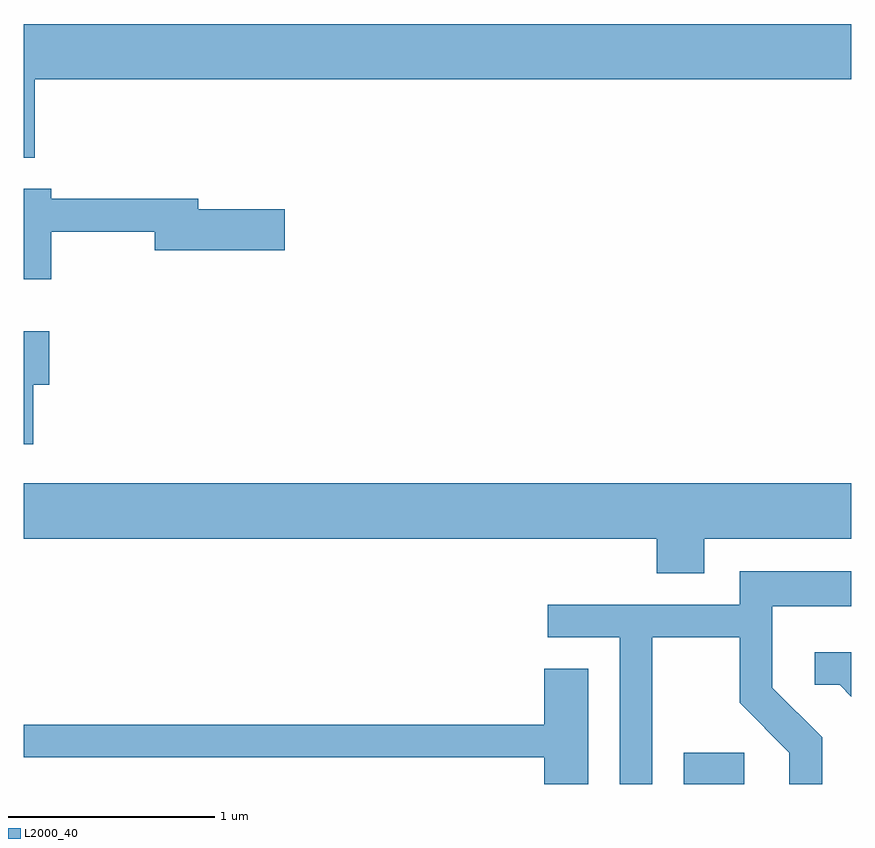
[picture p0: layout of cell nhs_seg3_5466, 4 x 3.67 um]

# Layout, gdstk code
import gdstk
lib = gdstk.Library(unit=1e-6, precision=1e-09)
def R(c, l, rs):  # rectangles x0, y0, x1, y1
    for r in rs: c.add(gdstk.rectangle(r[:2], r[2:], *l))
def P(c, l, *ps):  # polygons
    for p in ps: c.add(gdstk.Polygon(p, *l))
L2000_40 = (2000, 40)

nhs_seg3_5466 = lib.new_cell('nhs_seg3_5466')
R(nhs_seg3_5466, L2000_40, [(348.801,1175.892,349.094,1176.044)])
P(nhs_seg3_5466, L2000_40, [(345.664,1179.296),(349.611,1179.296),(349.611,1179.564),(345.611,1179.564),(345.611,1178.918),(345.664,1178.918)],
  [(345.744,1178.561),(346.246,1178.561),(346.246,1178.471),(346.874,1178.471),(346.874,1178.669),(346.454,1178.669),(346.454,1178.719),(345.744,1178.719),(345.744,1178.769),(345.611,1178.769),(345.611,1178.331),(345.744,1178.331)],
  [(345.659,1177.821),(345.734,1177.821),(345.734,1178.079),(345.611,1178.079),(345.611,1177.533),(345.659,1177.533)],
  [(348.899,1177.076),(349.611,1177.076),(349.611,1177.344),(345.611,1177.344),(345.611,1177.076),(348.671,1177.076),(348.671,1176.911),(348.899,1176.911)],
  [(348.649,1176.601),(349.071,1176.601),(349.071,1176.284),(349.311,1176.044),(349.311,1175.892),(349.469,1175.892),(349.469,1176.117),(349.229,1176.357),(349.229,1176.751),(349.611,1176.751),(349.611,1176.919),(349.071,1176.919),(349.071,1176.759),(348.143,1176.759),(348.143,1176.601),(348.491,1176.601),(348.491,1175.892),(348.649,1175.892)],
  [(349.611,1176.529),(349.433,1176.529),(349.433,1176.371),(349.554,1176.371),(349.611,1176.314)],
  [(348.339,1176.449),(348.126,1176.449),(348.126,1176.179),(345.611,1176.179),(345.611,1176.021),(348.126,1176.021),(348.126,1175.892),(348.339,1175.892)])

lib.write_gds('nhs_seg3_5466.gds')
